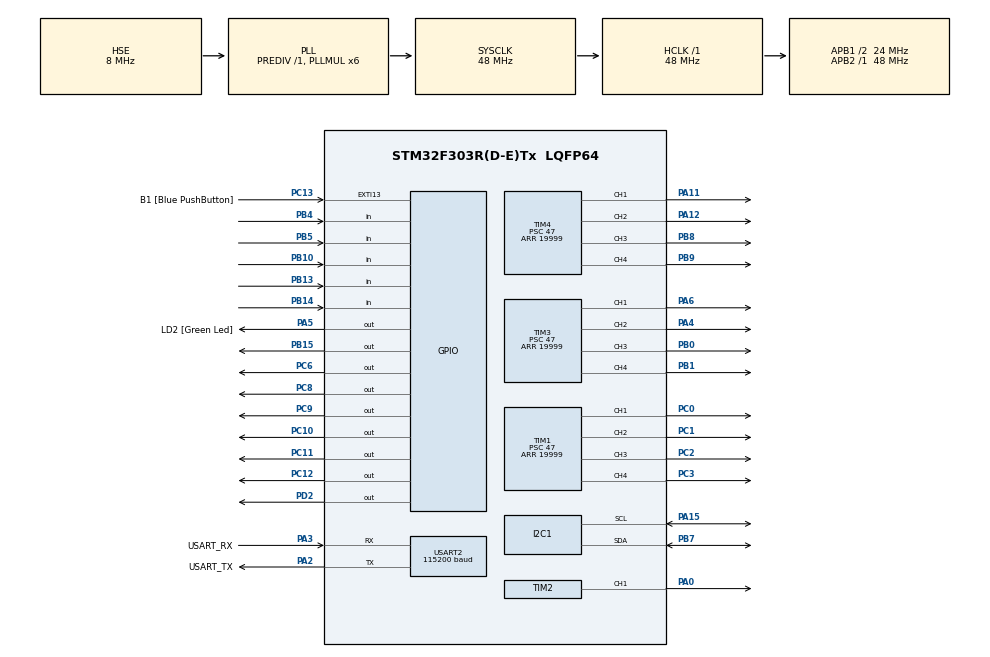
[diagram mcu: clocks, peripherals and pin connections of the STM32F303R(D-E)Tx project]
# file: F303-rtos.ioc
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Dma.Request0=USART2_RX
Dma.Request1=USART2_TX
Dma.USART2_RX.0.Direction=DMA_PERIPH_TO_MEMORY
Dma.USART2_RX.0.Instance=DMA1_Channel6
Dma.USART2_RX.0.MemDataAlignment=DMA_MDATAALIGN_BYTE
Dma.USART2_RX.0.MemInc=DMA_MINC_ENABLE
Dma.USART2_RX.0.Mode=DMA_CIRCULAR
Dma.USART2_RX.0.PeriphDataAlignment=DMA_PDATAALIGN_BYTE
Dma.USART2_RX.0.PeriphInc=DMA_PINC_DISABLE
Dma.USART2_RX.0.Priority=DMA_PRIORITY_HIGH
Dma.USART2_TX.1.Direction=DMA_MEMORY_TO_PERIPH
Dma.USART2_TX.1.Instance=DMA1_Channel7
Dma.USART2_TX.1.MemDataAlignment=DMA_MDATAALIGN_BYTE
Dma.USART2_TX.1.MemInc=DMA_MINC_ENABLE
Dma.USART2_TX.1.Mode=DMA_NORMAL
Dma.USART2_TX.1.PeriphDataAlignment=DMA_PDATAALIGN_BYTE
Dma.USART2_TX.1.PeriphInc=DMA_PINC_DISABLE
Dma.USART2_TX.1.Priority=DMA_PRIORITY_HIGH
FREERTOS.Tasks01=defaultTask,24,128,StartDefaultTask,Default,NULL,Dynamic,NULL,NULL;I2C_telemetry,8,128,StartI2C_telemetry,Default,NULL,Dynamic,NULL,NULL
I2C1.Timing=0x00201D2B
Mcu.Family=STM32F3
Mcu.Name=STM32F303R(D-E)Tx
Mcu.Package=LQFP64
NVIC.DMA1_Channel6_IRQn=true\:5\:0\:false\:false\:true\:true\:false\:true\:true
NVIC.DMA1_Channel7_IRQn=true\:5\:0\:false\:false\:true\:true\:false\:true\:true
NVIC.PriorityGroup=NVIC_PRIORITYGROUP_4
NVIC.TIM6_DAC_IRQn=true\:15\:0\:false\:false\:true\:false\:false\:true\:true
NVIC.TIM7_IRQn=true\:5\:0\:false\:false\:true\:true\:true\:true\:true
NVIC.TimeBase=TIM6_DAC_IRQn
NVIC.TimeBaseIP=TIM6
NVIC.USART2_IRQn=true\:5\:0\:false\:false\:true\:true\:true\:true\:true
PA0.Signal=S_TIM2_CH1_ETR
PA11.Signal=S_TIM4_CH1
PA12.Signal=S_TIM4_CH2
PA13.GPIO_Label=TMS
PA13.Mode=Serial_Wire
PA13.Signal=SYS_JTMS-SWDIO
PA14.GPIO_Label=TCK
PA14.Mode=Serial_Wire
PA14.Signal=SYS_JTCK-SWCLK
PA15.Mode=I2C
PA15.Signal=I2C1_SCL
PA2.GPIO_Label=USART_TX
PA2.GPIO_Mode=GPIO_MODE_AF_PP
PA2.GPIO_PuPd=GPIO_NOPULL
PA2.GPIO_Speed=GPIO_SPEED_FREQ_LOW
PA2.Mode=Asynchronous
PA2.Signal=USART2_TX
PA3.GPIO_Label=USART_RX
PA3.GPIO_Mode=GPIO_MODE_AF_PP
PA3.GPIO_PuPd=GPIO_NOPULL
PA3.GPIO_Speed=GPIO_SPEED_FREQ_LOW
PA3.Mode=Asynchronous
PA3.Signal=USART2_RX
PA4.Signal=S_TIM3_CH2
PA5.GPIO_Label=LD2 [Green Led]
PA5.GPIO_Mode=GPIO_MODE_OUTPUT_PP
PA5.GPIO_PuPd=GPIO_NOPULL
PA5.GPIO_Speed=GPIO_SPEED_FREQ_LOW
PA5.Signal=GPIO_Output
PA6.Signal=S_TIM3_CH1
PB0.Signal=S_TIM3_CH3
PB1.Signal=S_TIM3_CH4
PB10.Signal=GPIO_Input
PB13.Signal=GPIO_Input
PB14.Signal=GPIO_Input
PB15.Signal=GPIO_Output
PB3.GPIO_Label=SWO
PB3.Signal=SYS_JTDO-TRACESWO
PB4.Signal=GPIO_Input
PB5.Signal=GPIO_Input
PB7.Mode=I2C
PB7.Signal=I2C1_SDA
PB8.Signal=S_TIM4_CH3
PB9.Signal=S_TIM4_CH4
PC0.Signal=S_TIM1_CH1
PC1.Signal=S_TIM1_CH2
PC10.Signal=GPIO_Output
PC11.Signal=GPIO_Output
PC12.Signal=GPIO_Output
PC13.GPIO_Label=B1 [Blue PushButton]
PC13.GPIO_ModeDefaultEXTI=GPIO_MODE_IT_FALLING
PC13.Signal=GPXTI13
PC14-OSC32_IN.Mode=LSE-External-Oscillator
PC14-OSC32_IN.Signal=RCC_OSC32_IN
PC15-OSC32_OUT.Mode=LSE-External-Oscillator
PC15-OSC32_OUT.Signal=RCC_OSC32_OUT
PC2.Signal=S_TIM1_CH3
PC3.Signal=S_TIM1_CH4
PC6.Signal=GPIO_Output
PC8.Signal=GPIO_Output
PC9.Signal=GPIO_Output
PD2.Signal=GPIO_Output
PF0-OSC_IN.Mode=HSE-External-Clock-Source
PF0-OSC_IN.Signal=RCC_OSC_IN
PF1-OSC_OUT.Signal=RCC_OSC_OUT
ProjectManager.HeapSize=0x200
ProjectManager.StackSize=0x400
ProjectManager.TargetToolchain=CMake
RCC.AHBFreq_Value=48000000
RCC.APB1CLKDivider=RCC_HCLK_DIV2
RCC.APB1Freq_Value=24000000
RCC.APB1TimFreq_Value=48000000
RCC.APB2Freq_Value=48000000
RCC.APB2TimFreq_Value=48000000
RCC.CortexFreq_Value=48000000
RCC.HCLKFreq_Value=48000000
RCC.HSE_VALUE=8000000
RCC.HSI_VALUE=8000000
RCC.PLLM=8
RCC.PLLMUL=RCC_PLL_MUL6
RCC.PLLN=336
RCC.PLLP=RCC_PLLP_DIV4
RCC.PLLQ=7
RCC.PLLSourceVirtual=RCC_PLLSOURCE_HSE
RCC.RCC_PLLsource_Clock_Source_FROM_HSE=RCC_HSE_PREDIV_DIV2
RCC.SYSCLKFreq_VALUE=48000000
RCC.SYSCLKSourceVirtual=RCC_SYSCLKSOURCE_PLLCLK
RCC.USBFreq_Value=48000000
SH.S_TIM1_CH1.0=TIM1_CH1,PWM Generation1 CH1
SH.S_TIM1_CH2.0=TIM1_CH2,PWM Generation2 CH2
SH.S_TIM1_CH3.0=TIM1_CH3,PWM Generation3 CH3
SH.S_TIM1_CH4.0=TIM1_CH4,PWM Generation4 CH4
SH.S_TIM2_CH1_ETR.0=TIM2_CH1,PWM Generation1 CH1
SH.S_TIM3_CH1.0=TIM3_CH1,PWM Generation1 CH1
SH.S_TIM3_CH2.0=TIM3_CH2,PWM Generation2 CH2
SH.S_TIM3_CH3.0=TIM3_CH3,PWM Generation3 CH3
SH.S_TIM3_CH4.0=TIM3_CH4,PWM Generation4 CH4
SH.S_TIM4_CH1.0=TIM4_CH1,PWM Generation1 CH1
SH.S_TIM4_CH2.0=TIM4_CH2,PWM Generation2 CH2
SH.S_TIM4_CH3.0=TIM4_CH3,PWM Generation3 CH3
SH.S_TIM4_CH4.0=TIM4_CH4,PWM Generation4 CH4
TIM1.Channel-PWM\ Generation1\ CH1=TIM_CHANNEL_1
TIM1.Channel-PWM\ Generation2\ CH2=TIM_CHANNEL_2
TIM1.Channel-PWM\ Generation3\ CH3=TIM_CHANNEL_3
TIM1.Channel-PWM\ Generation4\ CH4=TIM_CHANNEL_4
TIM1.Period=19999
TIM1.Prescaler=47
TIM2.Channel-PWM\ Generation1\ CH1=TIM_CHANNEL_1
TIM2.Period=19999
TIM2.Prescaler=47
TIM3.Channel-PWM\ Generation1\ CH1=TIM_CHANNEL_1
TIM3.Channel-PWM\ Generation2\ CH2=TIM_CHANNEL_2
TIM3.Channel-PWM\ Generation3\ CH3=TIM_CHANNEL_3
TIM3.Channel-PWM\ Generation4\ CH4=TIM_CHANNEL_4
TIM3.Period=19999
TIM3.Prescaler=47
TIM4.Channel-PWM\ Generation1\ CH1=TIM_CHANNEL_1
TIM4.Channel-PWM\ Generation2\ CH2=TIM_CHANNEL_2
TIM4.Channel-PWM\ Generation3\ CH3=TIM_CHANNEL_3
TIM4.Channel-PWM\ Generation4\ CH4=TIM_CHANNEL_4
TIM4.Period=19999
TIM4.Prescaler=47
TIM7.Period=49
TIM7.Prescaler=47
USART2.BaudRate=115200
USART2.VirtualMode-Asynchronous=VM_ASYNC
VP_FREERTOS_VS_CMSIS_V2.Mode=CMSIS_V2
VP_SYS_VS_tim6.Mode=TIM6
VP_TIM7_VS_ClockSourceINT.Mode=Enable_Timer
board=NUCLEO-F303RE

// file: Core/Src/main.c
/* USER CODE BEGIN Header */
/**
  ******************************************************************************
  * @file           : main.c
  * @brief          : Main program body
  ******************************************************************************
  * @attention
  *
  * Copyright (c) 2026 STMicroelectronics.
  * All rights reserved.
  *
  * This software is licensed under terms that can be found in the LICENSE file
  * in the root directory of this software component.
  * If no LICENSE file comes with this software, it is provided AS-IS.
  *
  ******************************************************************************
  */
/* USER CODE END Header */
#include "main.h"
#include "cmsis_os.h"

/* USER CODE BEGIN Includes */
#include <stdio.h>
#include <string.h>
#include "../../Custom/Inc/imu.h"
#include "../../Custom/Inc/esc.h"
#include "../../Custom/Inc/servo.h"
#include "../../Custom/Inc/stepper.h"
#include "../../Custom/Inc/encoder.h"

#include "FreeRTOS.h"
#include "task.h"
/* USER CODE END Includes */

/* USER CODE BEGIN PTD */
typedef struct __attribute__((packed)) InputPacket {
  // uint32_t escs[8];
  // uint32_t servos[5];
  uint16_t escs[8];
  uint16_t servos[5];
  float steppers[3];
} InputPacket;

typedef struct __attribute__((packed)) TXHeader{
  uint8_t start;
  uint8_t type;
  uint16_t len;
} TXHeader;
// typedef struct __attribute__((packed)) SensorPayload {
//   char fused;
//   IMU_Data imu_packet;
//   Enccoder_Data encoder_packet[3];
// }

typedef struct __attribute__((packed)) SensorPayload {
  Encoder_Data encoder_packet[NUM_ENCODERS];
} SensorPayload;

/* USER CODE END PTD */

/* USER CODE BEGIN PM */
// #define RX_PACKET_SIZE 32
// #define RX_PACKET_SIZE (8 * sizeof(int))
#define RX_PACKET_SIZE (sizeof(InputPacket))
#define TX_HEADER_SIZE (sizeof(TXHeader))
#define TX_START 0x67
/* USER CODE END PM */

I2C_HandleTypeDef hi2c1;

TIM_HandleTypeDef htim1;
TIM_HandleTypeDef htim2;
TIM_HandleTypeDef htim3;
TIM_HandleTypeDef htim4;
TIM_HandleTypeDef htim7;

UART_HandleTypeDef huart2;
DMA_HandleTypeDef hdma_usart2_rx;
DMA_HandleTypeDef hdma_usart2_tx;

/* Definitions for defaultTask */
osThreadId_t defaultTaskHandle;
const osThreadAttr_t defaultTask_attributes = {
  .name = "defaultTask",
  .stack_size = 128 * 4,
  .priority = (osPriority_t) osPriorityNormal,
};
/* Definitions for I2C_telemetry */
osThreadId_t I2C_telemetryHandle;
const osThreadAttr_t I2C_telemetry_attributes = {
  .name = "I2C_telemetry",
  .stack_size = 128 * 4,
  .priority = (osPriority_t) osPriorityLow,
};
/* USER CODE BEGIN PV */
int dma_init_flag = 0;
int motors_armed_flag = 0;
uint8_t rx_buf[2 * RX_PACKET_SIZE] = {0};

ESC fr;
ESC frt;
ESC br;
ESC brt;
ESC bl;
ESC blt;
ESC fl;
ESC flt;
ESC escs[8];
// ESC* escs[8];

Servo prox;
Servo dist;
Servo wrist;
Servo zed;
Servo ex_servo;
Servo servos[5];
// Servo* servos[5];

Stepper base;
Stepper wristL;
Stepper wristR;
Stepper* steppers[3];

Encoder e1;
Encoder e2;
Encoder e3;
Encoder* encoders[3];
/* USER CODE END PV */

void SystemClock_Config(void);
static void MX_GPIO_Init(void);
static void MX_DMA_Init(void);
static void MX_USART2_UART_Init(void);
static void MX_I2C1_Init(void);
static void MX_TIM1_Init(void);
static void MX_TIM2_Init(void);
static void MX_TIM3_Init(void);
static void MX_TIM4_Init(void);
static void MX_TIM7_Init(void);
void StartDefaultTask(void *argument);
void StartI2C_telemetry(void *argument);

/* USER CODE BEGIN 0 */

uint32_t DWT_Init(void)
{
  /* Enable TRC */
  CoreDebug->DEMCR |=  CoreDebug_DEMCR_TRCENA_Msk; // 0x01000000;
  /* Reset the clock cycle counter value */
  DWT->CYCCNT = 0;
  /* Enable  clock cycle counter */
  DWT->CTRL |=  DWT_CTRL_CYCCNTENA_Msk; //0x00000001;

  return (DWT->CYCCNT == 0);
}

__STATIC_INLINE void us_delay(volatile uint32_t us)
{
  uint32_t cycles_per_us = HAL_RCC_GetHCLKFreq() / 1000000;
  uint32_t start = DWT->CYCCNT;
  uint32_t delay_cycles = us * cycles_per_us;
  while ((DWT->CYCCNT - start) < delay_cycles);
}

void printd(char * msg){
  int len = strlen(msg);
  uint8_t tx_buf[TX_HEADER_SIZE + len];
  TXHeader header = {TX_START, 0x01, len};
  memcpy(tx_buf, &header, sizeof(TXHeader));
  memcpy(tx_buf + sizeof(TXHeader), msg, strlen(msg));

  HAL_UART_Transmit(&huart2, (uint8_t *)tx_buf, sizeof(tx_buf), HAL_MAX_DELAY);
}

// void watchf(float * value, uint16_t len){
//   TXHeader header = {TX_START, 0x02, len};
//   uint8_t tx_buf[TX_HEADER_SIZE + len];
//   memcpy(tx_buf, &header, sizeof(TXHeader));
//   memcpy(tx_buf + sizeof(TXHeader), value, len);

//   HAL_UART_Transmit(&huart2, (uint8_t *)tx_buf, sizeof(tx_buf), HAL_MAX_DELAY);
// }

int __io_putchar(int ch)
{
  HAL_UART_Transmit(&huart2, (uint8_t *)&ch, 1, HAL_MAX_DELAY);
  // HAL_UART_Transmit_DMA(&huart2, (uint8_t *)&ch, 1);
  return ch;
}

/* USER CODE END 0 */

int main(void)
{

  /* MCU Configuration--------------------------------------------------------*/

  /* Reset of all peripherals, Initializes the Flash interface and the Systick. */
  HAL_Init();

  /* Configure the system clock */
  SystemClock_Config();

  /* Initialize all configured peripherals */
  MX_GPIO_Init();
  MX_DMA_Init();
  MX_USART2_UART_Init();
  MX_I2C1_Init();
  MX_TIM1_Init();
  MX_TIM2_Init();
  MX_TIM3_Init();
  MX_TIM4_Init();
  MX_TIM7_Init();
  /* USER CODE BEGIN 2 */

  printd("======= PROGRAM BEGIN =======!\r\n");
  DWT_Init();
  //Servos + config
  prox.htim = htim1;
  prox.ch = TIM_CHANNEL_1;
  servos[0] = prox;

  dist.htim = htim1;
  dist.ch = TIM_CHANNEL_2;
  servos[1] = dist;

  wrist.htim = htim1;
  wrist.ch = TIM_CHANNEL_3;
  servos[2] = wrist;

  zed.htim = htim1;
  zed.ch = TIM_CHANNEL_4;
  servos[3] = zed;

  // unused
  ex_servo.htim = htim2;
  ex_servo.ch = TIM_CHANNEL_1;
  servos[4] = ex_servo;

  HAL_TIM_PWM_Start(&htim1, TIM_CHANNEL_1);//proximal control
  HAL_TIM_PWM_Start(&htim1, TIM_CHANNEL_2);//distal control
  HAL_TIM_PWM_Start(&htim1, TIM_CHANNEL_3);//wrist flexion/extension control
  // HAL_TIM_PWM_Start(&htim1, TIM_CHANNEL_4);//zed camera
  // HAL_TIM_PWM_Start(&htim2, TIM_CHANNEL_1);//unused

  //STEPPERS
  HAL_TIM_Base_Start_IT(&htim7);
  HAL_GPIO_WritePin(GPIOC, GPIO_PIN_9, GPIO_PIN_RESET);

  initStepper(
    &base,
    GPIOC,
    GPIO_PIN_8,
    GPIOC,
    GPIO_PIN_6
  );
  steppers[0] = &base;

  initStepper(
    &wristL,
    GPIOC,
    GPIO_PIN_10,
    GPIOC,
    GPIO_PIN_12
  );
  steppers[1] = &wristL;

  initStepper(
    &wristR,
    GPIOC,
    GPIO_PIN_11,
    GPIOD,
    GPIO_PIN_2
  );
  steppers[2] = &wristR;

  //ENCODERS
  initEncoder(&e1, GPIOB, GPIO_PIN_14);
  encoders[0] = &e1;
  initEncoder(&e2, GPIOB, GPIO_PIN_13);
  encoders[1] = &e2;
  initEncoder(&e3, GPIOB, GPIO_PIN_5);
  encoders[2] = &e3;

  //ESCS + config
  fr.htim = htim4;
  fr.ch = TIM_CHANNEL_1;
  escs[0] = fr;

  frt.htim = htim4;
  frt.ch = TIM_CHANNEL_2;
  escs[1] = frt;

  br.htim = htim4;
  br.ch = TIM_CHANNEL_3;
  escs[2] = br;

  brt.htim = htim4;
  brt.ch = TIM_CHANNEL_4;
  escs[3] = brt;

  bl.htim = htim3;
  bl.ch = TIM_CHANNEL_1;
  escs[4] = bl;

  blt.htim = htim3;
  blt.ch = TIM_CHANNEL_2;
  escs[5] = blt;

  fl.htim = htim3;
  fl.ch = TIM_CHANNEL_3;
  escs[6] = fl;

  flt.htim = htim3;
  flt.ch = TIM_CHANNEL_4;
  escs[7] = flt;

  HAL_TIM_PWM_Start(&htim4, TIM_CHANNEL_1);
  HAL_TIM_PWM_Start(&htim4, TIM_CHANNEL_2);
  HAL_TIM_PWM_Start(&htim4, TIM_CHANNEL_3);
  HAL_TIM_PWM_Start(&htim4, TIM_CHANNEL_4);

  HAL_TIM_PWM_Start(&htim3, TIM_CHANNEL_1);
  HAL_TIM_PWM_Start(&htim3, TIM_CHANNEL_2);
  HAL_TIM_PWM_Start(&htim3, TIM_CHANNEL_3);
  HAL_TIM_PWM_Start(&htim3, TIM_CHANNEL_4);

  // DMA
  HAL_UART_Receive_DMA(&huart2, rx_buf, 2 * RX_PACKET_SIZE);
  __HAL_DMA_ENABLE_IT(huart2.hdmarx, DMA_IT_HT);
  __HAL_DMA_ENABLE_IT(huart2.hdmarx, DMA_IT_TC);

  //ESC ARMING
  // __HAL_TIM_SET_COMPARE(&htim1, TIM_CHANNEL_1, 1500);
  for (int i = 0; i < 8; i++){
    setESC(escs[i], 1500);
  }
  HAL_Delay(3000);
  printd("-> Attempted to arm ESC\r\n");
  motors_armed_flag = 1;

  /* USER CODE END 2 */

  /* Init scheduler */
  osKernelInitialize();

  /* Create the thread(s) */
  /* creation of defaultTask */
  defaultTaskHandle = osThreadNew(StartDefaultTask, NULL, &defaultTask_attributes);

  /* creation of I2C_telemetry */
  I2C_telemetryHandle = osThreadNew(StartI2C_telemetry, NULL, &I2C_telemetry_attributes);

  /* Start scheduler */
  osKernelStart();

  /* We should never get here as control is now taken by the scheduler */

  /* Infinite loop */
  while (1)
  {

    /* USER CODE BEGIN 3 */
    // HAL_GPIO_TogglePin(LD2_GPIO_Port, LD2_Pin);
    // printf("test");
    // HAL_Delay(500);
  }
  /* USER CODE END 3 */
}

void SystemClock_Config(void)
{
  RCC_OscInitTypeDef RCC_OscInitStruct = {0};
  RCC_ClkInitTypeDef RCC_ClkInitStruct = {0};
  RCC_PeriphCLKInitTypeDef PeriphClkInit = {0};

  /** Initializes the RCC Oscillators according to the specified parameters
  * in the RCC_OscInitTypeDef structure.
  */
  RCC_OscInitStruct.OscillatorType = RCC_OSCILLATORTYPE_HSI|RCC_OSCILLATORTYPE_HSE;
  RCC_OscInitStruct.HSEState = RCC_HSE_BYPASS;
  RCC_OscInitStruct.HSIState = RCC_HSI_ON;
  RCC_OscInitStruct.HSICalibrationValue = RCC_HSICALIBRATION_DEFAULT;
  RCC_OscInitStruct.PLL.PLLState = RCC_PLL_ON;
  RCC_OscInitStruct.PLL.PLLSource = RCC_PLLSOURCE_HSE;
  RCC_OscInitStruct.PLL.PLLMUL = RCC_PLL_MUL6;
  RCC_OscInitStruct.PLL.PREDIV = RCC_PREDIV_DIV1;
  if (HAL_RCC_OscConfig(&RCC_OscInitStruct) != HAL_OK)
  {
    Error_Handler();
  }

  /** Initializes the CPU, AHB and APB buses clocks
  */
  RCC_ClkInitStruct.ClockType = RCC_CLOCKTYPE_HCLK|RCC_CLOCKTYPE_SYSCLK
                              |RCC_CLOCKTYPE_PCLK1|RCC_CLOCKTYPE_PCLK2;
  RCC_ClkInitStruct.SYSCLKSource = RCC_SYSCLKSOURCE_PLLCLK;
  RCC_ClkInitStruct.AHBCLKDivider = RCC_SYSCLK_DIV1;
  RCC_ClkInitStruct.APB1CLKDivider = RCC_HCLK_DIV2;
  RCC_ClkInitStruct.APB2CLKDivider = RCC_HCLK_DIV1;

  if (HAL_RCC_ClockConfig(&RCC_ClkInitStruct, FLASH_LATENCY_1) != HAL_OK)
  {
    Error_Handler();
  }
  PeriphClkInit.PeriphClockSelection = RCC_PERIPHCLK_USART2|RCC_PERIPHCLK_I2C1
                              |RCC_PERIPHCLK_TIM1|RCC_PERIPHCLK_TIM2
                              |RCC_PERIPHCLK_TIM34;
  PeriphClkInit.Usart2ClockSelection = RCC_USART2CLKSOURCE_PCLK1;
  PeriphClkInit.I2c1ClockSelection = RCC_I2C1CLKSOURCE_HSI;
  PeriphClkInit.Tim1ClockSelection = RCC_TIM1CLK_HCLK;
  PeriphClkInit.Tim2ClockSelection = RCC_TIM2CLK_HCLK;
  PeriphClkInit.Tim34ClockSelection = RCC_TIM34CLK_HCLK;
  if (HAL_RCCEx_PeriphCLKConfig(&PeriphClkInit) != HAL_OK)
  {
    Error_Handler();
  }
}

static void MX_I2C1_Init(void)
{

  hi2c1.Instance = I2C1;
  hi2c1.Init.Timing = 0x00201D2B;
  hi2c1.Init.OwnAddress1 = 0;
  hi2c1.Init.AddressingMode = I2C_ADDRESSINGMODE_7BIT;
  hi2c1.Init.DualAddressMode = I2C_DUALADDRESS_DISABLE;
  hi2c1.Init.OwnAddress2 = 0;
  hi2c1.Init.OwnAddress2Masks = I2C_OA2_NOMASK;
  hi2c1.Init.GeneralCallMode = I2C_GENERALCALL_DISABLE;
  hi2c1.Init.NoStretchMode = I2C_NOSTRETCH_DISABLE;
  if (HAL_I2C_Init(&hi2c1) != HAL_OK)
  {
    Error_Handler();
  }

  /** Configure Analogue filter
  */
  if (HAL_I2CEx_ConfigAnalogFilter(&hi2c1, I2C_ANALOGFILTER_ENABLE) != HAL_OK)
  {
    Error_Handler();
  }

  /** Configure Digital filter
  */
  if (HAL_I2CEx_ConfigDigitalFilter(&hi2c1, 0) != HAL_OK)
  {
    Error_Handler();
  }
  /* USER CODE BEGIN I2C1_Init 2 */
  uint8_t mode;
  imu_read_nb(&mode, 1, 0x3D, &hi2c1);
  // printf("mode=%02X\r\n", mode);

  if (mode != 0x0C){
    imu_write_1b(0x3D, 0x0C, &hi2c1);
    HAL_Delay(700);
  }
  dma_init_flag = 1;
  /* USER CODE END I2C1_Init 2 */

}

static void MX_TIM1_Init(void)
{

  TIM_MasterConfigTypeDef sMasterConfig = {0};
  TIM_OC_InitTypeDef sConfigOC = {0};
  TIM_BreakDeadTimeConfigTypeDef sBreakDeadTimeConfig = {0};

  htim1.Instance = TIM1;
  htim1.Init.Prescaler = 47;
  htim1.Init.CounterMode = TIM_COUNTERMODE_UP;
  htim1.Init.Period = 19999;
  htim1.Init.ClockDivision = TIM_CLOCKDIVISION_DIV1;
  htim1.Init.RepetitionCounter = 0;
  htim1.Init.AutoReloadPreload = TIM_AUTORELOAD_PRELOAD_DISABLE;
  if (HAL_TIM_PWM_Init(&htim1) != HAL_OK)
  {
    Error_Handler();
  }
  sMasterConfig.MasterOutputTrigger = TIM_TRGO_RESET;
  sMasterConfig.MasterOutputTrigger2 = TIM_TRGO2_RESET;
  sMasterConfig.MasterSlaveMode = TIM_MASTERSLAVEMODE_DISABLE;
  if (HAL_TIMEx_MasterConfigSynchronization(&htim1, &sMasterConfig) != HAL_OK)
  {
    Error_Handler();
  }
  sConfigOC.OCMode = TIM_OCMODE_PWM1;
  sConfigOC.Pulse = 0;
  sConfigOC.OCPolarity = TIM_OCPOLARITY_HIGH;
  sConfigOC.OCNPolarity = TIM_OCNPOLARITY_HIGH;
  sConfigOC.OCFastMode = TIM_OCFAST_DISABLE;
  sConfigOC.OCIdleState = TIM_OCIDLESTATE_RESET;
  sConfigOC.OCNIdleState = TIM_OCNIDLESTATE_RESET;
  if (HAL_TIM_PWM_ConfigChannel(&htim1, &sConfigOC, TIM_CHANNEL_1) != HAL_OK)
  {
    Error_Handler();
  }
  if (HAL_TIM_PWM_ConfigChannel(&htim1, &sConfigOC, TIM_CHANNEL_2) != HAL_OK)
  {
    Error_Handler();
  }
  if (HAL_TIM_PWM_ConfigChannel(&htim1, &sConfigOC, TIM_CHANNEL_3) != HAL_OK)
  {
    Error_Handler();
  }
  if (HAL_TIM_PWM_ConfigChannel(&htim1, &sConfigOC, TIM_CHANNEL_4) != HAL_OK)
  {
    Error_Handler();
  }
  sBreakDeadTimeConfig.OffStateRunMode = TIM_OSSR_DISABLE;
  sBreakDeadTimeConfig.OffStateIDLEMode = TIM_OSSI_DISABLE;
  sBreakDeadTimeConfig.LockLevel = TIM_LOCKLEVEL_OFF;
  sBreakDeadTimeConfig.DeadTime = 0;
  sBreakDeadTimeConfig.BreakState = TIM_BREAK_DISABLE;
  sBreakDeadTimeConfig.BreakPolarity = TIM_BREAKPOLARITY_HIGH;
  sBreakDeadTimeConfig.BreakFilter = 0;
  sBreakDeadTimeConfig.Break2State = TIM_BREAK2_DISABLE;
  sBreakDeadTimeConfig.Break2Polarity = TIM_BREAK2POLARITY_HIGH;
  sBreakDeadTimeConfig.Break2Filter = 0;
  sBreakDeadTimeConfig.AutomaticOutput = TIM_AUTOMATICOUTPUT_DISABLE;
  if (HAL_TIMEx_ConfigBreakDeadTime(&htim1, &sBreakDeadTimeConfig) != HAL_OK)
  {
    Error_Handler();
  }
  HAL_TIM_MspPostInit(&htim1);

}

static void MX_TIM2_Init(void)
{

  TIM_MasterConfigTypeDef sMasterConfig = {0};
  TIM_OC_InitTypeDef sConfigOC = {0};

  htim2.Instance = TIM2;
  htim2.Init.Prescaler = 47;
  htim2.Init.CounterMode = TIM_COUNTERMODE_UP;
  htim2.Init.Period = 19999;
  htim2.Init.ClockDivision = TIM_CLOCKDIVISION_DIV1;
  htim2.Init.AutoReloadPreload = TIM_AUTORELOAD_PRELOAD_DISABLE;
  if (HAL_TIM_PWM_Init(&htim2) != HAL_OK)
  {
    Error_Handler();
  }
  sMasterConfig.MasterOutputTrigger = TIM_TRGO_RESET;
  sMasterConfig.MasterSlaveMode = TIM_MASTERSLAVEMODE_DISABLE;
  if (HAL_TIMEx_MasterConfigSynchronization(&htim2, &sMasterConfig) != HAL_OK)
  {
    Error_Handler();
  }
  sConfigOC.OCMode = TIM_OCMODE_PWM1;
  sConfigOC.Pulse = 0;
  sConfigOC.OCPolarity = TIM_OCPOLARITY_HIGH;
  sConfigOC.OCFastMode = TIM_OCFAST_DISABLE;
  if (HAL_TIM_PWM_ConfigChannel(&htim2, &sConfigOC, TIM_CHANNEL_1) != HAL_OK)
  {
    Error_Handler();
  }
  HAL_TIM_MspPostInit(&htim2);

}

static void MX_TIM3_Init(void)
{

  TIM_MasterConfigTypeDef sMasterConfig = {0};
  TIM_OC_InitTypeDef sConfigOC = {0};

  htim3.Instance = TIM3;
  htim3.Init.Prescaler = 47;
  htim3.Init.CounterMode = TIM_COUNTERMODE_UP;
  htim3.Init.Period = 19999;
  htim3.Init.ClockDivision = TIM_CLOCKDIVISION_DIV1;
  htim3.Init.AutoReloadPreload = TIM_AUTORELOAD_PRELOAD_DISABLE;
  if (HAL_TIM_PWM_Init(&htim3) != HAL_OK)
  {
    Error_Handler();
  }
  sMasterConfig.MasterOutputTrigger = TIM_TRGO_RESET;
  sMasterConfig.MasterSlaveMode = TIM_MASTERSLAVEMODE_DISABLE;
  if (HAL_TIMEx_MasterConfigSynchronization(&htim3, &sMasterConfig) != HAL_OK)
  {
    Error_Handler();
  }
  sConfigOC.OCMode = TIM_OCMODE_PWM1;
  sConfigOC.Pulse = 0;
  sConfigOC.OCPolarity = TIM_OCPOLARITY_HIGH;
  sConfigOC.OCFastMode = TIM_OCFAST_DISABLE;
  if (HAL_TIM_PWM_ConfigChannel(&htim3, &sConfigOC, TIM_CHANNEL_1) != HAL_OK)
  {
    Error_Handler();
  }
  if (HAL_TIM_PWM_ConfigChannel(&htim3, &sConfigOC, TIM_CHANNEL_2) != HAL_OK)
  {
    Error_Handler();
  }
  if (HAL_TIM_PWM_ConfigChannel(&htim3, &sConfigOC, TIM_CHANNEL_3) != HAL_OK)
  {
    Error_Handler();
  }
  if (HAL_TIM_PWM_ConfigChannel(&htim3, &sConfigOC, TIM_CHANNEL_4) != HAL_OK)
  {
    Error_Handler();
  }
  HAL_TIM_MspPostInit(&htim3);

}

static void MX_TIM4_Init(void)
{

  TIM_MasterConfigTypeDef sMasterConfig = {0};
  TIM_OC_InitTypeDef sConfigOC = {0};

  htim4.Instance = TIM4;
  htim4.Init.Prescaler = 47;
  htim4.Init.CounterMode = TIM_COUNTERMODE_UP;
  htim4.Init.Period = 19999;
  htim4.Init.ClockDivision = TIM_CLOCKDIVISION_DIV1;
  htim4.Init.AutoReloadPreload = TIM_AUTORELOAD_PRELOAD_DISABLE;
  if (HAL_TIM_PWM_Init(&htim4) != HAL_OK)
  {
    Error_Handler();
  }
  sMasterConfig.MasterOutputTrigger = TIM_TRGO_RESET;
  sMasterConfig.MasterSlaveMode = TIM_MASTERSLAVEMODE_DISABLE;
  if (HAL_TIMEx_MasterConfigSynchronization(&htim4, &sMasterConfig) != HAL_OK)
  {
    Error_Handler();
  }
  sConfigOC.OCMode = TIM_OCMODE_PWM1;
  sConfigOC.Pulse = 0;
  sConfigOC.OCPolarity = TIM_OCPOLARITY_HIGH;
  sConfigOC.OCFastMode = TIM_OCFAST_DISABLE;
  if (HAL_TIM_PWM_ConfigChannel(&htim4, &sConfigOC, TIM_CHANNEL_1) != HAL_OK)
  {
    Error_Handler();
  }
  if (HAL_TIM_PWM_ConfigChannel(&htim4, &sConfigOC, TIM_CHANNEL_2) != HAL_OK)
  {
    Error_Handler();
  }
  if (HAL_TIM_PWM_ConfigChannel(&htim4, &sConfigOC, TIM_CHANNEL_3) != HAL_OK)
  {
    Error_Handler();
  }
  if (HAL_TIM_PWM_ConfigChannel(&htim4, &sConfigOC, TIM_CHANNEL_4) != HAL_OK)
  {
    Error_Handler();
  }
  HAL_TIM_MspPostInit(&htim4);

}

static void MX_TIM7_Init(void)
{

  TIM_MasterConfigTypeDef sMasterConfig = {0};

  htim7.Instance = TIM7;
  htim7.Init.Prescaler = 47;
  htim7.Init.CounterMode = TIM_COUNTERMODE_UP;
  htim7.Init.Period = 49;
  htim7.Init.AutoReloadPreload = TIM_AUTORELOAD_PRELOAD_DISABLE;
  if (HAL_TIM_Base_Init(&htim7) != HAL_OK)
  {
    Error_Handler();
  }
  sMasterConfig.MasterOutputTrigger = TIM_TRGO_RESET;
  sMasterConfig.MasterSlaveMode = TIM_MASTERSLAVEMODE_DISABLE;
  if (HAL_TIMEx_MasterConfigSynchronization(&htim7, &sMasterConfig) != HAL_OK)
  {
    Error_Handler();
  }

}

static void MX_USART2_UART_Init(void)
{

  huart2.Instance = USART2;
  huart2.Init.BaudRate = 115200;
  huart2.Init.WordLength = UART_WORDLENGTH_8B;
  huart2.Init.StopBits = UART_STOPBITS_1;
  huart2.Init.Parity = UART_PARITY_NONE;
  huart2.Init.Mode = UART_MODE_TX_RX;
  huart2.Init.HwFlowCtl = UART_HWCONTROL_NONE;
  huart2.Init.OverSampling = UART_OVERSAMPLING_16;
  huart2.Init.OneBitSampling = UART_ONE_BIT_SAMPLE_DISABLE;
  huart2.AdvancedInit.AdvFeatureInit = UART_ADVFEATURE_NO_INIT;
  if (HAL_UART_Init(&huart2) != HAL_OK)
  {
    Error_Handler();
  }

}

static void MX_DMA_Init(void)
{

  /* DMA controller clock enable */
  __HAL_RCC_DMA1_CLK_ENABLE();

  /* DMA interrupt init */
  /* DMA1_Channel6_IRQn interrupt configuration */
  HAL_NVIC_SetPriority(DMA1_Channel6_IRQn, 5, 0);
  HAL_NVIC_EnableIRQ(DMA1_Channel6_IRQn);
  /* DMA1_Channel7_IRQn interrupt configuration */
  HAL_NVIC_SetPriority(DMA1_Channel7_IRQn, 5, 0);
  HAL_NVIC_EnableIRQ(DMA1_Channel7_IRQn);

}

static void MX_GPIO_Init(void)
{
  GPIO_InitTypeDef GPIO_InitStruct = {0};

  /* GPIO Ports Clock Enable */
  __HAL_RCC_GPIOC_CLK_ENABLE();
  __HAL_RCC_GPIOF_CLK_ENABLE();
  __HAL_RCC_GPIOA_CLK_ENABLE();
  __HAL_RCC_GPIOB_CLK_ENABLE();
  __HAL_RCC_GPIOD_CLK_ENABLE();

  /*Configure GPIO pin Output Level */
  HAL_GPIO_WritePin(LD2_GPIO_Port, LD2_Pin, GPIO_PIN_RESET);

  /*Configure GPIO pin Output Level */
  HAL_GPIO_WritePin(GPIOB, GPIO_PIN_15, GPIO_PIN_RESET);

  /*Configure GPIO pin Output Level */
  HAL_GPIO_WritePin(GPIOC, GPIO_PIN_6|GPIO_PIN_8|GPIO_PIN_9|GPIO_PIN_10
                          |GPIO_PIN_11|GPIO_PIN_12, GPIO_PIN_RESET);

  /*Configure GPIO pin Output Level */
  HAL_GPIO_WritePin(GPIOD, GPIO_PIN_2, GPIO_PIN_RESET);

  /*Configure GPIO pin : B1_Pin */
  GPIO_InitStruct.Pin = B1_Pin;
  GPIO_InitStruct.Mode = GPIO_MODE_IT_FALLING;
  GPIO_InitStruct.Pull = GPIO_NOPULL;
  HAL_GPIO_Init(B1_GPIO_Port, &GPIO_InitStruct);

  /*Configure GPIO pin : LD2_Pin */
  GPIO_InitStruct.Pin = LD2_Pin;
  GPIO_InitStruct.Mode = GPIO_MODE_OUTPUT_PP;
  GPIO_InitStruct.Pull = GPIO_NOPULL;
  GPIO_InitStruct.Speed = GPIO_SPEED_FREQ_LOW;
  HAL_GPIO_Init(LD2_GPIO_Port, &GPIO_InitStruct);

  /*Configure GPIO pins : PB10 PB13 PB14 PB4
                           PB5 */
  GPIO_InitStruct.Pin = GPIO_PIN_10|GPIO_PIN_13|GPIO_PIN_14|GPIO_PIN_4
                          |GPIO_PIN_5;
  GPIO_InitStruct.Mode = GPIO_MODE_INPUT;
  GPIO_InitStruct.Pull = GPIO_NOPULL;
  HAL_GPIO_Init(GPIOB, &GPIO_InitStruct);

  /*Configure GPIO pin : PB15 */
  GPIO_InitStruct.Pin = GPIO_PIN_15;
  GPIO_InitStruct.Mode = GPIO_MODE_OUTPUT_PP;
  GPIO_InitStruct.Pull = GPIO_NOPULL;
  GPIO_InitStruct.Speed = GPIO_SPEED_FREQ_LOW;
  HAL_GPIO_Init(GPIOB, &GPIO_InitStruct);

  /*Configure GPIO pins : PC6 PC8 PC9 PC10
                           PC11 PC12 */
  GPIO_InitStruct.Pin = GPIO_PIN_6|GPIO_PIN_8|GPIO_PIN_9|GPIO_PIN_10
                          |GPIO_PIN_11|GPIO_PIN_12;
  GPIO_InitStruct.Mode = GPIO_MODE_OUTPUT_PP;
  GPIO_InitStruct.Pull = GPIO_NOPULL;
  GPIO_InitStruct.Speed = GPIO_SPEED_FREQ_LOW;
  HAL_GPIO_Init(GPIOC, &GPIO_InitStruct);

  /*Configure GPIO pin : PD2 */
  GPIO_InitStruct.Pin = GPIO_PIN_2;
  GPIO_InitStruct.Mode = GPIO_MODE_OUTPUT_PP;
  GPIO_InitStruct.Pull = GPIO_NOPULL;
  GPIO_InitStruct.Speed = GPIO_SPEED_FREQ_LOW;
  HAL_GPIO_Init(GPIOD, &GPIO_InitStruct);

}

/* USER CODE BEGIN 4 */
int process(uint8_t* packet){
  HAL_GPIO_TogglePin(LD2_GPIO_Port, LD2_Pin);
  InputPacket packet_cpy;
  memcpy(&packet_cpy, packet, RX_PACKET_SIZE);

  for (int i = 0; i < 8; i++){
    setESC(escs[i], packet_cpy.escs[i]);
  }

  for (int i = 0; i < 4; i++){ //there was no 5th servo, causing invalid servo operations
    setServo(servos[i], packet_cpy.servos[i]);
  }

  for (int i = 0; i < 3; i++){
    setStepperSpeed(steppers[i], packet_cpy.steppers[i]);
  }

  return 1;
}

void HAL_UART_RxHalfCpltCallback(UART_HandleTypeDef *huart) {
  if (huart->Instance == USART2) {
    // Packet A is ready in rxBuffer[0 .. PACKET_SIZE-1]
    if (motors_armed_flag){
      process(rx_buf);
    }
  }
}

void HAL_UART_RxCpltCallback(UART_HandleTypeDef *huart) {
  if (huart->Instance == USART2) {
    // Packet B is ready in rxBuffer[PACKET_SIZE .. PACKET_SIZE*2-1]
    if (motors_armed_flag){
      process(rx_buf + RX_PACKET_SIZE);
    }
  }
}
/* USER CODE END 4 */

void StartDefaultTask(void *argument)
{
  /* USER CODE BEGIN 5 */
  /* Infinite loop */
  uint16_t raws[NUM_ENCODERS] = {0};
  float prev_angles[NUM_ENCODERS] = {0};
  int16_t prev_turns[NUM_ENCODERS] = {0};

  for (int i = 0; i < NUM_ENCODERS; i++){
    prev_angles[i] = getAngle(encoders[i]);
    prev_turns[i] = encoders[i]->turn;
  }

  for(;;)
  {
    // printd("heartbeat\r\n");
    // osDelay(500);
    // continue;

    //temp variables
    for (int i = 0; i < NUM_ENCODERS; i++){
      raws[i] = 0;
    }

    taskENTER_CRITICAL();
    //set the clock low
    GPIOB->BSRR = (GPIO_PIN_15 << 16);
    us_delay(2);

    for (int i = 0; i < 14; i++){
      GPIOB->BSRR = GPIO_PIN_15;
      us_delay(2);
      for (int j = 0; j < NUM_ENCODERS; j++){
        raws[j] = (raws[j] << 1) | HAL_GPIO_ReadPin(encoders[j]->data_port, encoders[j]->data_pin);
      }

      GPIOB->BSRR = GPIO_PIN_15 << 16;
      us_delay(2);
      //set the clock high
    }
    taskEXIT_CRITICAL();

    //set new turn and position
    for (int i = 0; i < NUM_ENCODERS; i ++){
      encoders[i]->pos = raws[i] & 0x03FF;
      encoders[i]->turn = (raws[i] >> 10) & 0x0F;
    }

    //BUG: unconnected GPIO seem to be high, leading to false positions and turns

    //velocity calculation

    Encoder_Data encoder_output[NUM_ENCODERS];
    float velocities[NUM_ENCODERS] = {0};
    for (int i = 0; i < NUM_ENCODERS; i++){
      float current_angle = getAngle(encoders[i]);
      int16_t turn_diff = (int16_t)encoders[i]->turn - prev_turns[i];
      //TODO: overflow protection
      // watchf(&turn_diff);

      float angle_diff = current_angle - prev_angles[i];

      velocities[i] = (360 * turn_diff + angle_diff) / (CLK_FRAME_US * 0.000001);
      // velocities[i] = (360 * turn_diff + angle_diff) / (300 * 0.001);

      encoder_output[i].angle = current_angle;
      encoder_output[i].velocity = velocities[i];

      prev_angles[i] = current_angle;
      prev_turns[i] = encoders[i]->turn;
    }

    // delay and keep clock low
    // doesnt have to be 20us, can be MUCH slower if I want
    us_delay(CLK_FRAME_US);
    // osDelay(300);

    GPIOB->BSRR = GPIO_PIN_15; // clock high, restart state machine
    //transmit encoder data
    // print()
    TXHeader header = {TX_START, 0x00, sizeof(SensorPayload)};
    uint8_t tx_buf[TX_HEADER_SIZE + sizeof(SensorPayload)] = {0};
    SensorPayload output;
    memcpy(output.encoder_packet, encoder_output, sizeof(output.encoder_packet)); //payload copied

    memcpy(tx_buf, &header, sizeof(TXHeader));
    memcpy(tx_buf + sizeof(TXHeader), &output, sizeof(output));

    // printd()
    // HAL_UART_Transmit(&huart2, (uint8_t *)&output, NUM_ENCODERS * sizeof(Encoder_Data), HAL_MAX_DELAY);
    HAL_UART_Transmit(&huart2, (uint8_t *)tx_buf, sizeof(tx_buf), HAL_MAX_DELAY);

  }
  /* USER CODE END 5 */
}

void StartI2C_telemetry(void *argument)
{
  /* USER CODE BEGIN StartI2C_telemetry */
  /* Infinite loop */
  for(;;)
  {
    osDelay(1);
    // int x = get_gyro_x(&hi2c1);
    // printf("%d\r\n",x);
    // IMU_Packet packet = get_packet(&hi2c1);
    // HAL_UART_Transmit(&huart2, (uint8_t *)&packet, sizeof(IMU_Packet), HAL_MAX_DELAY);
    // printf("test");
    // osDelay(500);
  }
  /* USER CODE END StartI2C_telemetry */
}

void HAL_TIM_PeriodElapsedCallback(TIM_HandleTypeDef *htim)
{
  if (htim->Instance == TIM6)
  {
    HAL_IncTick();
  }
  /* USER CODE BEGIN Callback 1 */

  if (htim->Instance == TIM7 && motors_armed_flag){
    // printf("test\r\n");

    //there are 3 servos. this is bad practice. I should use a macro or a variable
    for (int i = 0; i < 3; i++){
      accumulate(steppers[i]);
    }
  }
  /* USER CODE END Callback 1 */
}

void Error_Handler(void)
{
  __disable_irq();
  while (1)
  {
  }
}
